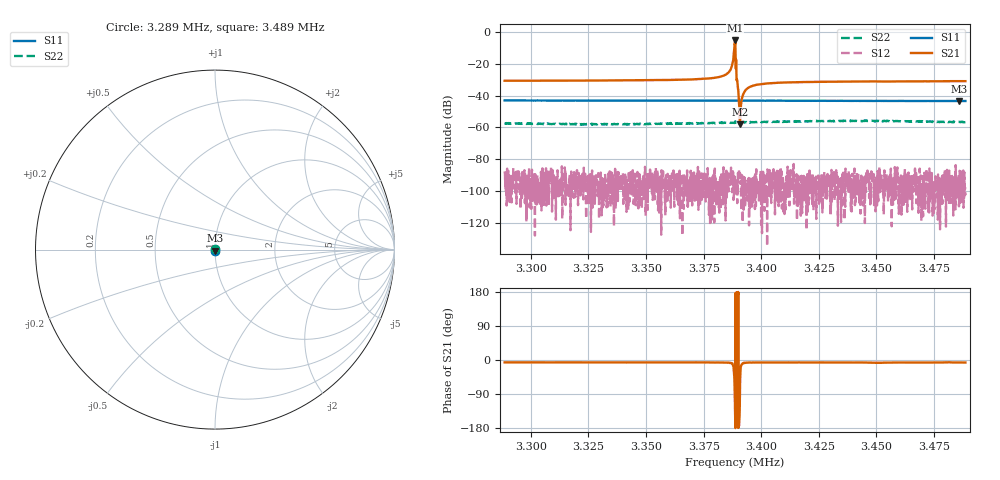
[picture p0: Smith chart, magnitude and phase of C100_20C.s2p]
# Hz S dB R 50.000
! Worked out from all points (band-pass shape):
!   6401 points, 3.289 MHz to 3.489 MHz, reference 50 ohm
!   highest |S21| = -5.28 dB at 3.389 MHz (marker M1); lowest = -58.1 dB at 3.391 MHz (marker M2)
!   |S21| within 3 dB of the highest: 3.388402 MHz to 3.388772 MHz (370 Hz wide, 0.0109 % of centre)
!   lowest |S11| = -43.4 dB at 3.486 MHz (marker M3), VSWR 1.01, Z = 49.9 - j0.669 ohm
!   |S11| at or under -10 dB: start of sweep to end of sweep
!   |S22| runs from -58.2 to -55.6 dB; largest |S21 - S12| = 0.54
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3288594  -42.99 -98.8  -30.62 -6.2  -87.66 96.3  -57.42 95.2
3321938  -43.06 -97.9  -30.52 -6.3  -94.84 96.3  -58.03 95.5
3355282  -43.11 -97.0  -30.22 -6.4  -104.33 56.6  -57.75 95.4
3382188  -43.15 -98.2  -28.07 -6.9  -93.03 -27.7  -56.97 95.8
3385782  -43.15 -98.5  -25.42 -7.0  -98.07 -0.3  -56.92 95.9
3386938  -43.15 -98.8  -22.71 -8.0  -87.63 36.0  -57.14 94.3
3387469  -43.12 -98.5  -19.89 -8.8  -91.22 -27.6  -57.03 96.4
3387844  -43.13 -98.4  -17.18 -16.3  -89.91 -25.0  -57.04 96.0
3388188  -43.12 -98.5  -11.85 -33.5  -97.74 143.6  -57.16 96.4
3388594  -43.16 -98.3  -5.28 -120.4  -98.79 59.2  -56.40 99.2
3389219  -43.12 -98.5  -29.74 -150.5  -94.26 141.1  -56.57 95.6
3389875  -43.13 -98.5  -35.50 -165.5  -89.44 142.5  -56.76 94.5
3390156  -43.17 -98.7  -41.07 -161.7  -89.11 30.9  -56.57 95.1
3390750  -43.13 -98.5  -58.10 -78.3  -89.28 -1.4  -56.69 95.5
3391344  -43.16 -98.8  -43.88 -13.5  -109.51 83.3  -56.74 96.4
3392219  -43.14 -98.7  -38.90 -8.2  -97.08 -153.2  -56.52 95.6
3393156  -43.17 -98.7  -36.62 -7.3  -95.96 -18.7  -56.79 95.3
3396500  -43.15 -98.6  -33.67 -6.5  -104.26 76.8  -56.70 96.9
3421938  -43.23 -98.4  -31.37 -6.5  -99.58 -4.9  -56.06 100.1
3455282  -43.35 -96.9  -31.10 -6.8  -100.89 -136.1  -55.91 103.1
3485782  -43.42 -96.8  -30.87 -6.5  -109.29 -111.0  -56.47 96.8
3488594  -43.35 -97.0  -30.88 -6.7  -101.63 -54.1  -56.64 97.3
